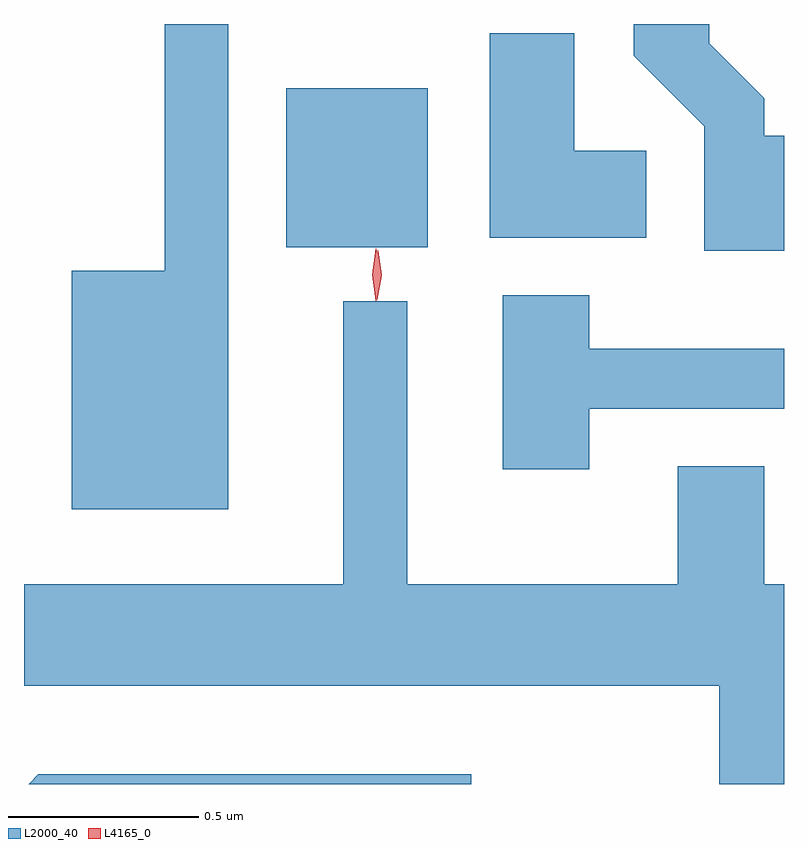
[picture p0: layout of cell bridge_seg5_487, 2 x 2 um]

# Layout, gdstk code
import gdstk
lib = gdstk.Library(unit=1e-6, precision=1e-09)
def R(c, l, rs):  # rectangles x0, y0, x1, y1
    for r in rs: c.add(gdstk.rectangle(r[:2], r[2:], *l))
def P(c, l, *ps):  # polygons
    for p in ps: c.add(gdstk.Polygon(p, *l))
L2000_40 = (2000, 40)
L4165_0 = (4165, 0)

bridge_seg5_487 = lib.new_cell('bridge_seg5_487')
R(bridge_seg5_487, L2000_40, [(209.571,1493.471,209.944,1493.889)])
P(bridge_seg5_487, L2000_40, [(209.419,1494.058),(209.251,1494.058),(209.251,1493.409),(209.006,1493.409),(209.006,1492.781),(209.419,1492.781)],
  [(210.881,1493.764),(210.829,1493.764),(210.829,1493.862),(210.684,1494.007),(210.684,1494.058),(210.486,1494.058),(210.486,1493.974),(210.671,1493.789),(210.671,1493.461),(210.881,1493.461)],
  [(210.519,1493.724),(210.329,1493.724),(210.329,1494.034),(210.106,1494.034),(210.106,1493.496),(210.519,1493.496)],
  [(210.369,1493.046),(210.881,1493.046),(210.881,1493.204),(210.369,1493.204),(210.369,1493.344),(210.141,1493.344),(210.141,1492.886),(210.369,1492.886)],
  [(210.881,1492.584),(210.829,1492.584),(210.829,1492.894),(210.601,1492.894),(210.601,1492.584),(209.889,1492.584),(209.889,1493.328),(209.721,1493.328),(209.721,1492.584),(208.881,1492.584),(208.881,1492.316),(210.711,1492.316),(210.711,1492.058),(210.881,1492.058)],
  [(210.058,1492.084),(208.919,1492.084),(208.893,1492.058),(210.058,1492.058)])
P(bridge_seg5_487, L4165_0, [(209.808,1493.329),(209.807,1493.33),(209.798,1493.398),(209.807,1493.466),(209.808,1493.466),(209.808,1493.466),(209.818,1493.398),(209.808,1493.33)],
  [(209.81,1493.333),(209.801,1493.397),(209.812,1493.461),(209.812,1493.462),(209.813,1493.461),(209.822,1493.397),(209.811,1493.333),(209.811,1493.333)])

lib.write_gds('bridge_seg5_487.gds')
